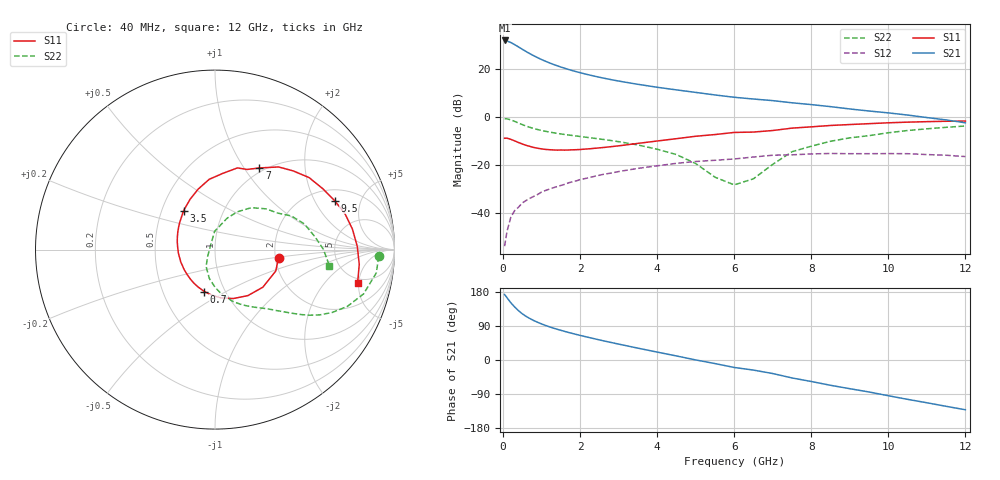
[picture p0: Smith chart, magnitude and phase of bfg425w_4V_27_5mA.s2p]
! Filename: 427bfg415.001
! BFG425W Field C1
! V1=8.367E-001V,V2=4.000E+000V, I1=3.438E-004A, I2=2.747E-002A
# GHz  S  MA  R 50
!  S11  S21  S12  S22
!Freq(GHz)  Mag  Ang  Mag  Ang  Mag  Ang  Mag  Ang
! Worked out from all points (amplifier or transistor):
!   44 points, 40 MHz to 12 GHz, reference 50 ohm
!   highest |S21| = 31.9 dB at 40 MHz (marker M1)
!   |S21| within 3 dB of that: start of sweep to 431.3 MHz
!   unconditionally stable (mu >= 1): start of sweep to 47.8 MHz; 1.191 GHz to end of sweep
!   at 700 MHz: K = 0.83, MSG = 30.1 dB, |S12| = -34.0 dB
!   at 2.4 GHz: K = 1.15, MAG = 18.4 dB, |S12| = -24.7 dB
!   at 12 GHz: K = 1.34, MAG = 3.6 dB, |S12| = -16.6 dB
!   S11 on the Smith chart (normalised r, x): 40 MHz: 2.08, -0.21; 700 MHz: 0.80, -0.40; 3.5 GHz: 0.65, +0.31; 7 GHz: 0.95, +1.18; 9.5 GHz: 2.59, +2.94; 12 GHz: 4.39, -4.85
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0.04  0.357 -7.2  39.21 172.8  0.002 60.5  0.913 -2.4
0.1  0.359 -19.4  38.19 164.7  0.004 75.3  0.908 -8.2
0.2  0.339 -38.2  35.59 151.2  0.008 72.9  0.864 -16.6
0.3  0.315 -54.5  32.15 140.0  0.011 70.3  0.803 -23.2
0.4  0.291 -69.6  28.77 130.3  0.013 67.4  0.742 -28.1
0.5  0.271 -83.0  25.68 121.8  0.016 65.5  0.688 -31.9
0.6  0.254 -94.3  22.97 115.0  0.018 64.6  0.641 -34.8
0.7  0.241 -104.4  20.68 109.2  0.02 63.5  0.602 -37.0
0.9  0.221 -122.1  17.08 99.3  0.024 62.3  0.542 -40.5
1.2  0.206 -143.0  13.39 87.8  0.031 60.4  0.482 -44.8
1.6  0.202 -165.3  10.3 75.5  0.039 57.7  0.428 -49.9
2.2  0.214 169.1  7.595 60.1  0.053 51.9  0.371 -58.6
2.8  0.238 148.5  5.979 46.3  0.067 45.0  0.32 -68.0
3.5  0.279 128.7  4.765 31.3  0.084 35.7  0.259 -80.1
4.5  0.35 105.5  3.647 10.7  0.107 20.9  0.163 -101.3
5.5  0.427 84.2  2.859 -9.4  0.124 5.2  0.055 -137.6
6.5  0.481 68.2  2.351 -26.6  0.145 -7.0  0.051 110.1
7  0.518 61.4  2.177 -35.8  0.158 -14.6  0.102 91.2
8.5  0.66 37.5  1.631 -66.7  0.172 -44.0  0.309 49.1
9.5  0.72 22.3  1.322 -84.4  0.17 -60.7  0.405 30.1
10.5  0.774 8.5  1.089 -103.8  0.17 -79.3  0.518 16.0
12  0.816 -13.1  0.75 -131.3  0.148 -109.3  0.644 -8.1
